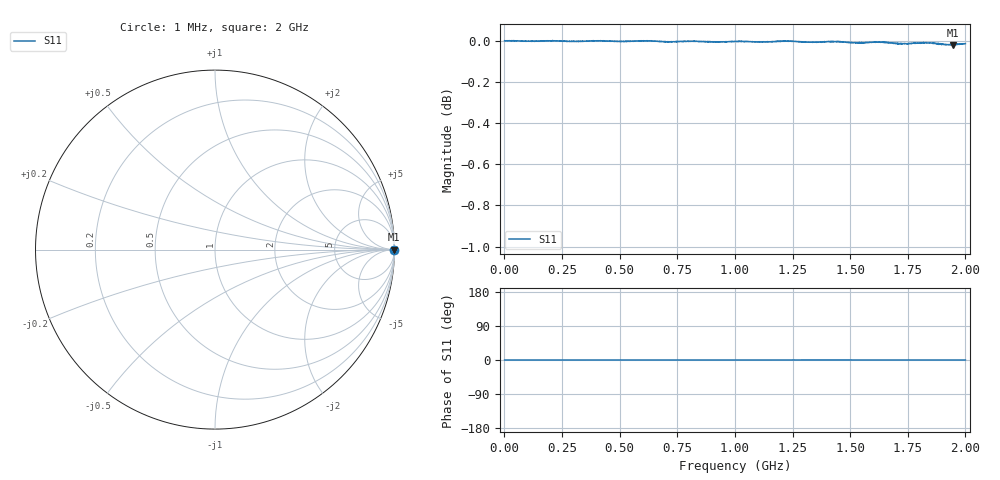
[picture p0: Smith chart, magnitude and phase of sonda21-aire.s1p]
! COPPER MOUNTAIN TECHNOLOGIES, R60, 23103002, 24.3.3/3.0
! Date: 24/6/2026 12:16:30
! Data: Format [Calibration Info]
! Frequency		S11: Mag/Ang F1
# HZ S MA R 50
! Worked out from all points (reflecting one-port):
!   2000 points, 1 MHz to 2 GHz, reference 50 ohm
!   lowest |S11| = 0.0 dB at 1.947 GHz (marker M1), VSWR 847.27, Z = 4.22e+04 - j2.7e+03 ohm
!   phase of S11 starts at -0 deg and turns +0 deg over the sweep
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1000000  1 -0.0
7.5e7  0.9998 -0.0
1.68e8  0.9999 0.0
2.51e8  0.9998 -0.0
2.92e8  0.9997 -0.0
3.77e8  1 0.0
5.01e8  0.9996 0.0
6e8  1 0.0
7.07e8  0.9995 0.0
7.51e8  0.9997 0.0
8.16e8  0.9998 0.0
8.81e8  0.9996 -0.0
1.001e9  0.9997 0.0
1.096e9  0.9994 -0.0
1.213e9  0.9997 0.1
1.251e9  0.9997 0.1
1.331e9  0.9991 0.1
1.414e9  0.9996 0.1
1.452e9  0.9994 0.1
1.501e9  0.999 0.1
1.555e9  0.9989 0.1
1.621e9  0.9992 0.1
1.707e9  0.9983 0.0
1.751e9  0.9985 -0.0
1.824e9  0.9989 0.0
1.905e9  0.9979 -0.0
1.947e9  0.9976 -0.0
2e9  0.9984 0.0
